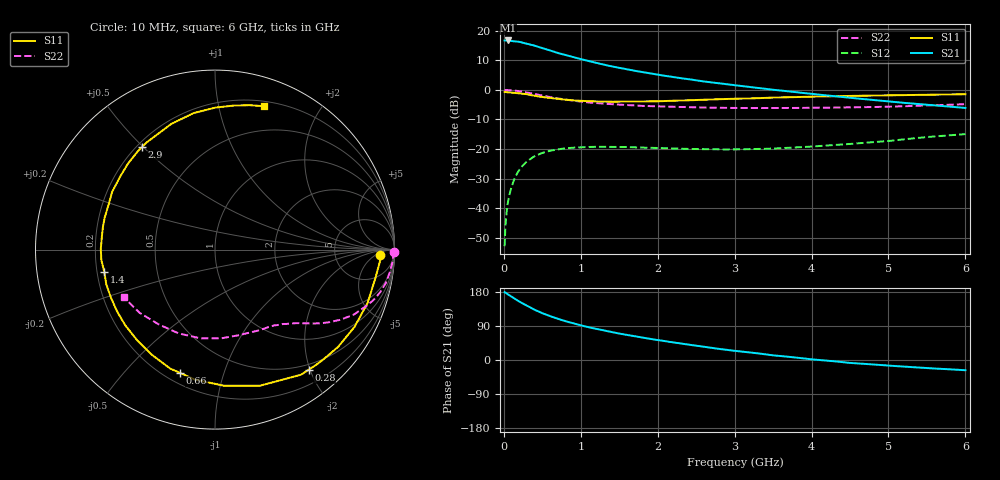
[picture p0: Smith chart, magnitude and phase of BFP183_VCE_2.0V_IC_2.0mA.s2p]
! Infineon Technologies  Discrete & RF Semiconductors
! BFP183
! VCE = 2.0 V,  IC =  2.0 mA
! Common Emitter S-Parameters:  Jan 2016
# GHz  S  MA  R  50
!  f  S11  S21  S12  S22
! GHz  MAG  ANG  MAG  ANG  MAG  ANG  MAG  ANG
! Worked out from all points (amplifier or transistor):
!   210 points, 10 MHz to 6 GHz, reference 50 ohm
!   highest |S21| = 16.7 dB at 50 MHz (marker M1)
!   |S21| within 3 dB of that: start of sweep to 553.3 MHz
!   unconditionally stable (mu >= 1): 2.066 GHz to 5.999 GHz
!   at 185 MHz: K = 0.10, MSG = 22.0 dB, |S12| = -27.7 dB
!   at 1.52 GHz: K = 0.73, MSG = 13.3 dB, |S12| = -19.3 dB
!   at 6 GHz: K = 1.00, MSG = 4.4 dB, |S12| = -15.0 dB
!   S11 on the Smith chart (normalised r, x): 10 MHz: 20, -8; 280 MHz: 0.41, -1.98; 660 MHz: 0.26, -0.73; 1.4 GHz: 0.23, -0.09; 2.9 GHz: 0.22, +0.49; 6 GHz: 0.25, +1.37
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0.01  0.9183 -1.9  6.817 179.0  0.0023 82.7  0.9991 -0.7
0.025  0.9186 -5.0  6.807 177.3  0.006 85.9  0.9933 -1.9
0.05  0.908 -9.9  6.819 173.6  0.012 87.2  0.9922 -3.7
0.115  0.8944 -22.2  6.644 165.2  0.0263 76.2  0.9775 -8.6
0.2  0.8742 -38.3  6.477 154.3  0.0444 68.9  0.9507 -14.4
0.28  0.8486 -52.1  6.092 145.5  0.0585 61.0  0.9115 -19.2
0.4  0.7986 -71.8  5.574 132.5  0.0761 51.1  0.8528 -25.2
0.5  0.7602 -86.2  5.067 123.4  0.0861 44.0  0.7993 -29.3
0.6  0.7331 -98.7  4.638 115.8  0.0938 38.1  0.7547 -32.4
0.66  0.7144 -105.7  4.367 111.8  0.0968 35.2  0.732 -33.9
0.8  0.6836 -121.0  3.883 102.4  0.1032 29.3  0.6854 -36.9
1.02  0.6513 -141.5  3.256 90.5  0.1072 22.0  0.6282 -40.8
1.2  0.6387 -155.1  2.857 82.2  0.1094 17.5  0.5982 -43.5
1.4  0.6292 -168.7  2.496 74.0  0.109 14.0  0.5733 -46.3
1.64  0.6348 177.4  2.173 64.8  0.1079 11.5  0.5507 -49.5
2.02  0.6423 158.2  1.789 52.0  0.1043 9.4  0.5248 -55.3
2.4  0.6668 142.5  1.514 40.5  0.1008 9.3  0.5102 -62.3
2.9  0.701 125.6  1.244 26.8  0.0987 12.0  0.4961 -72.2
3.1  0.7115 119.9  1.157 22.1  0.0992 13.5  0.4935 -76.7
4.1  0.7727 97.0  0.83 0.1  0.1127 21.2  0.4999 -102.0
5.1  0.812 81.4  0.62 -16.1  0.1416 24.6  0.5244 -129.5
6  0.8442 71.1  0.495 -27.0  0.1788 19.6  0.5737 -152.5
